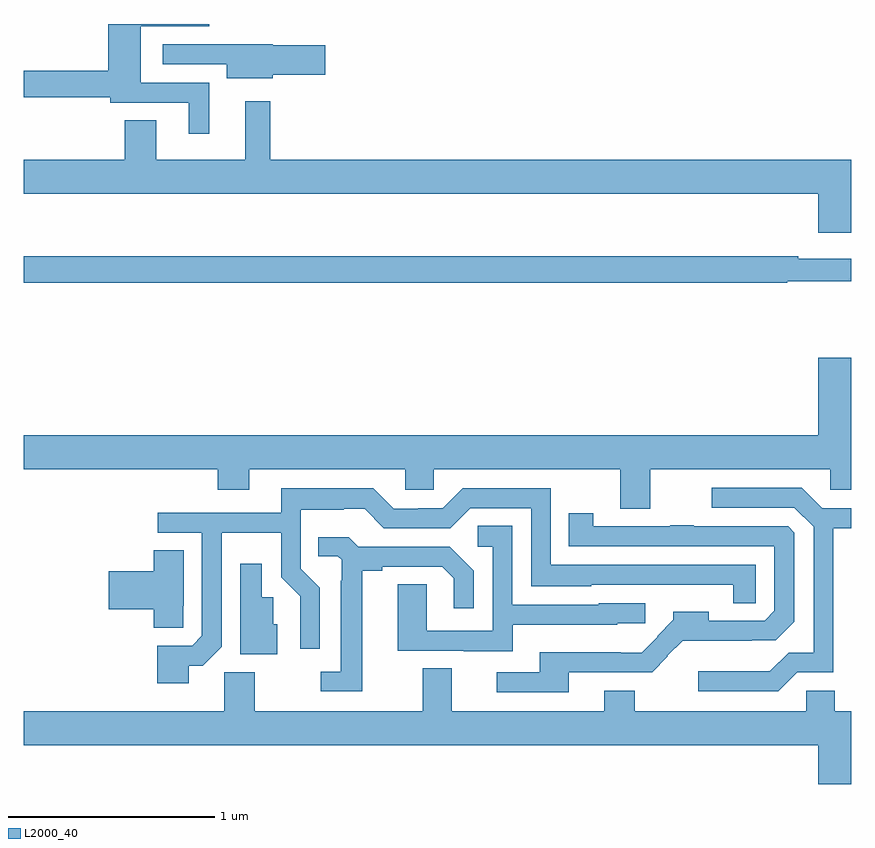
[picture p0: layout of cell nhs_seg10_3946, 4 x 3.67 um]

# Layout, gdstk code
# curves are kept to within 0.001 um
import gdstk
lib = gdstk.Library(unit=1e-6, precision=1e-09)
def P(c, l, *ps):  # polygons
    for p in ps: c.add(gdstk.Polygon(p, *l))
L2000_40 = (2000, 40)

nhs_seg10_3946 = lib.new_cell('nhs_seg10_3946')
P(nhs_seg10_3946, L2000_40, [(329.896,1270.215),(329.566,1270.215),(329.566,1270.49),(329.896,1270.49),(329.896,1270.5),(329.408,1270.5),(329.408,1270.274),(329,1270.274),(329,1270.146),(329.42,1270.146),(329.42,1270.119),(329.798,1270.119),(329.798,1269.969),(329.896,1269.969)],
  [(330.204,1270.255),(330.457,1270.255),(330.457,1270.397),(330.204,1270.397),(330.204,1270.402),(329.985,1270.402),(329.985,1270.401),(329.673,1270.401),(329.673,1270.305),(329.981,1270.305),(329.981,1270.238),(330.204,1270.238)],
  [(333,1269.844),(330.193,1269.844),(330.193,1270.126),(330.071,1270.126),(330.071,1269.844),(329.641,1269.844),(329.641,1270.034),(329.489,1270.034),(329.489,1269.844),(329,1269.844),(329,1269.68),(332.84,1269.68),(332.84,1269.492),(333,1269.492)],
  [(332.69,1269.258),(333,1269.258),(333,1269.366),(332.744,1269.366),(332.744,1269.379),(329,1269.379),(329,1269.25),(332.69,1269.25)],
  [(332.029,1268.348),(332.898,1268.348),(332.898,1268.25),(333,1268.25),(333,1268.887),(332.84,1268.887),(332.84,1268.512),(329,1268.512),(329,1268.348),(329.939,1268.348),(329.939,1268.249),(330.091,1268.249),(330.091,1268.348),(330.843,1268.348),(330.843,1268.25),(330.981,1268.25),(330.981,1268.348),(331.882,1268.348),(331.882,1268.158),(332.029,1268.158)],
  [(332.739,1267.368),(332.913,1267.368),(332.913,1268.064),(333,1268.064),(333,1268.16),(332.86,1268.16),(332.761,1268.259),(332.325,1268.259),(332.325,1268.163),(332.724,1268.163),(332.817,1268.07),(332.817,1267.463),(332.696,1267.463),(332.605,1267.372),(332.259,1267.372),(332.259,1267.275),(332.646,1267.275)],
  [(329.797,1267.399),(329.865,1267.399),(329.958,1267.491),(329.958,1268.042),(330.246,1268.042),(330.246,1267.826),(330.338,1267.734),(330.338,1267.482),(330.432,1267.482),(330.432,1267.776),(330.339,1267.869),(330.339,1268.153),(330.548,1268.153),(330.548,1268.157),(330.648,1268.157),(330.741,1268.064),(331.062,1268.064),(331.158,1268.16),(331.452,1268.16),(331.452,1267.784),(331.743,1267.784),(331.743,1267.791),(332.43,1267.79),(332.43,1267.702),(332.538,1267.702),(332.538,1267.887),(331.548,1267.887),(331.548,1268.256),(331.122,1268.256),(331.026,1268.16),(330.906,1268.16),(330.906,1268.157),(330.789,1268.157),(330.689,1268.257),(330.245,1268.257),(330.245,1268.139),(329.649,1268.139),(329.649,1268.043),(329.862,1268.043),(329.862,1267.545),(329.814,1267.497),(329.645,1267.497),(329.645,1267.314),(329.797,1267.314)],
  [(331.633,1267.368),(332.037,1267.368),(332.113,1267.445),(332.111,1267.447),(332.185,1267.521),(332.519,1267.52),(332.519,1267.522),(332.635,1267.522),(332.724,1267.611),(332.724,1268.043),(332.694,1268.073),(332.237,1268.073),(332.237,1268.078),(332.125,1268.078),(332.125,1268.073),(331.752,1268.073),(331.752,1268.137),(331.633,1268.137),(331.633,1267.977),(332.628,1267.977),(332.628,1267.665),(332.58,1267.617),(332.311,1267.617),(332.311,1267.66),(332.14,1267.66),(332.14,1267.621),(332.061,1267.542),(332.064,1267.539),(331.988,1267.463),(331.886,1267.463),(331.886,1267.465),(331.493,1267.465),(331.493,1267.368),(331.287,1267.368),(331.287,1267.272),(331.633,1267.272)],
  [(331.363,1267.598),(331.869,1267.598),(331.869,1267.605),(332.004,1267.605),(332.004,1267.701),(331.779,1267.701),(331.779,1267.695),(331.362,1267.695),(331.362,1268.075),(331.194,1268.075),(331.194,1267.974),(331.266,1267.974),(331.266,1267.569),(330.948,1267.569),(330.948,1267.793),(330.809,1267.793),(330.809,1267.473),(331.127,1267.473),(331.127,1267.469),(331.363,1267.469)],
  [(330.637,1267.858),(330.733,1267.858),(330.733,1267.878),(331.022,1267.878),(331.079,1267.821),(331.079,1267.677),(331.176,1267.677),(331.176,1267.858),(331.06,1267.974),(330.618,1267.974),(330.57,1268.021),(330.424,1268.021),(330.424,1267.929),(330.519,1267.929),(330.537,1267.911),(330.537,1267.811),(330.533,1267.811),(330.533,1267.371),(330.435,1267.371),(330.435,1267.275),(330.637,1267.275)],
  [(329.772,1267.69),(329.773,1267.69),(329.773,1267.958),(329.63,1267.958),(329.63,1267.856),(329.412,1267.856),(329.412,1267.673),(329.63,1267.673),(329.63,1267.582),(329.772,1267.582)],
  [(330.226,1267.599),(330.207,1267.599),(330.207,1267.731),(330.151,1267.731),(330.151,1267.891),(330.047,1267.891),(330.047,1267.454),(330.226,1267.454)],
  [(333,1267.18),(332.92,1267.18),(332.92,1267.278),(332.781,1267.278),(332.781,1267.18),(331.953,1267.18),(331.953,1267.279),(331.805,1267.279),(331.805,1267.18),(331.069,1267.18),(331.069,1267.388),(330.929,1267.388),(330.929,1267.18),(330.117,1267.18),(330.117,1267.369),(329.97,1267.369),(329.97,1267.18),(329,1267.18),(329,1267.016),(332.84,1267.016),(332.84,1266.828),(333,1266.828)])

lib.write_gds('nhs_seg10_3946.gds')
